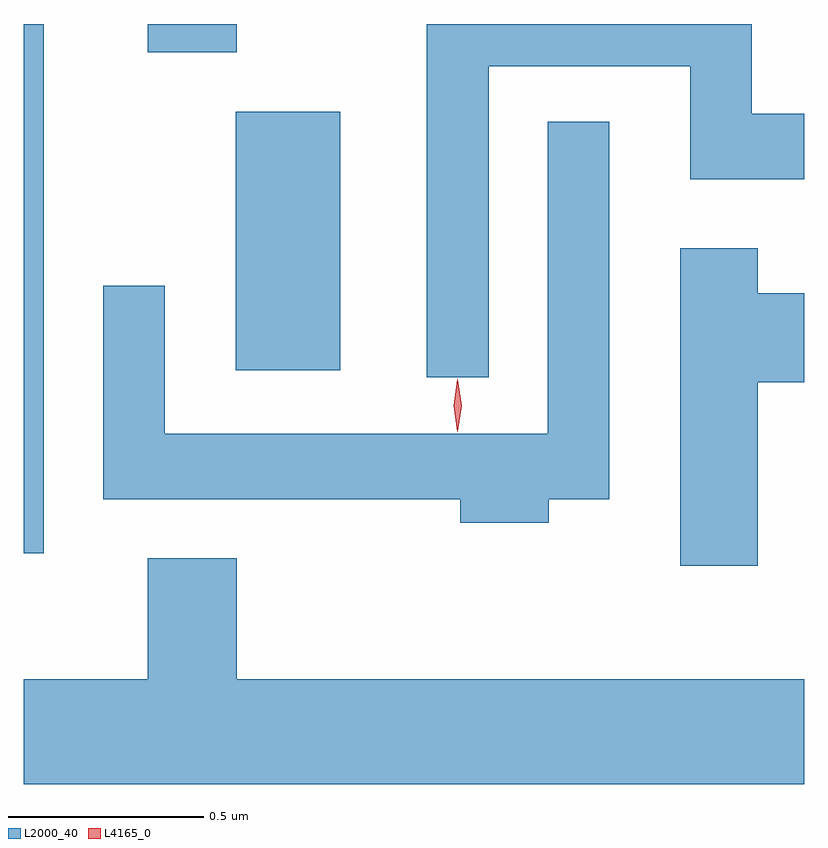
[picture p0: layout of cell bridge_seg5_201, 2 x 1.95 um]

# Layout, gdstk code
import gdstk
lib = gdstk.Library(unit=1e-6, precision=1e-09)
def R(c, l, rs):  # rectangles x0, y0, x1, y1
    for r in rs: c.add(gdstk.rectangle(r[:2], r[2:], *l))
def P(c, l, *ps):  # polygons
    for p in ps: c.add(gdstk.Polygon(p, *l))
L2000_40 = (2000, 40)
L4165_0 = (4165, 0)

bridge_seg5_201 = lib.new_cell('bridge_seg5_201')
R(bridge_seg5_201, L2000_40, [(1249.243,1419.648,1249.294,1421.004), (1249.786,1420.116,1250.054,1420.779), (1249.561,1420.931,1249.789,1421.004)])
P(bridge_seg5_201, L2000_40, [(1250.434,1420.896),(1250.951,1420.896),(1250.951,1420.606),(1251.243,1420.606),(1251.243,1420.774),(1251.109,1420.774),(1251.109,1421.004),(1250.276,1421.004),(1250.276,1420.098),(1250.434,1420.098)],
  [(1250.589,1419.786),(1250.744,1419.786),(1250.744,1420.753),(1250.586,1420.753),(1250.586,1419.954),(1249.604,1419.954),(1249.604,1420.333),(1249.446,1420.333),(1249.446,1419.786),(1250.361,1419.786),(1250.361,1419.726),(1250.589,1419.726)],
  [(1251.124,1420.086),(1251.243,1420.086),(1251.243,1420.314),(1251.124,1420.314),(1251.124,1420.429),(1250.926,1420.429),(1250.926,1419.616),(1251.124,1419.616)],
  [(1251.243,1419.324),(1249.789,1419.324),(1249.789,1419.634),(1249.561,1419.634),(1249.561,1419.324),(1249.243,1419.324),(1249.243,1419.056),(1251.243,1419.056)])
P(bridge_seg5_201, L4165_0, [(1250.355,1419.959),(1250.354,1419.96),(1250.345,1420.026),(1250.354,1420.092),(1250.355,1420.093),(1250.355,1420.092),(1250.365,1420.026),(1250.355,1419.96)])

lib.write_gds('bridge_seg5_201.gds')
